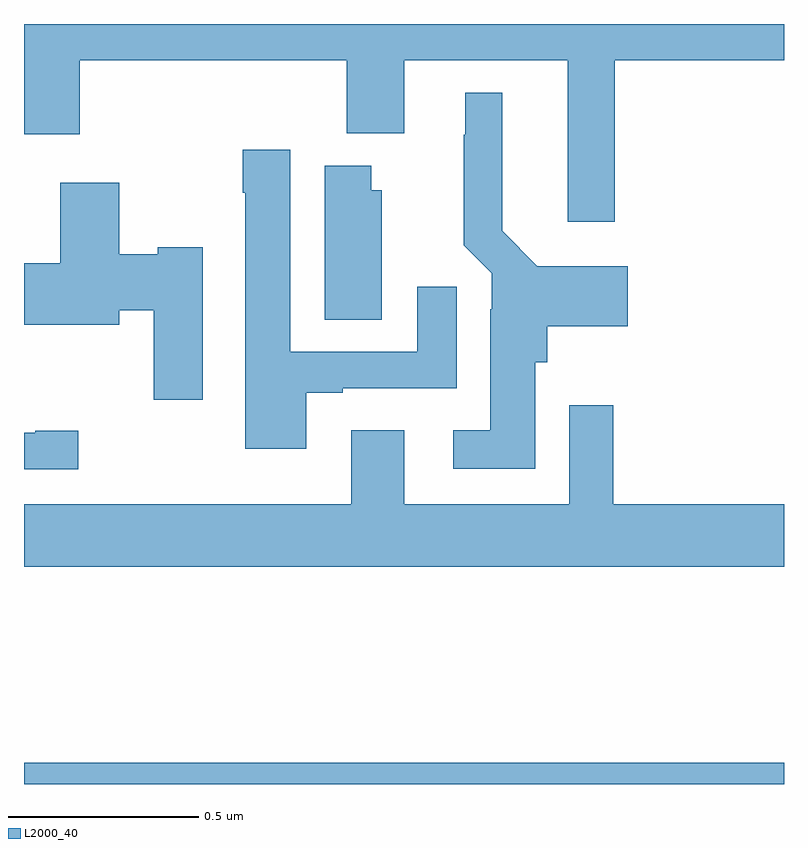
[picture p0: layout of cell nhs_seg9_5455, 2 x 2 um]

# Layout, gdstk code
import gdstk
lib = gdstk.Library(unit=1e-6, precision=1e-09)
def R(c, l, rs):  # rectangles x0, y0, x1, y1
    for r in rs: c.add(gdstk.rectangle(r[:2], r[2:], *l))
def P(c, l, *ps):  # polygons
    for p in ps: c.add(gdstk.Polygon(p, *l))
L2000_40 = (2000, 40)

nhs_seg9_5455 = lib.new_cell('nhs_seg9_5455')
R(nhs_seg9_5455, L2000_40, [(179,1210.5,181,1210.556)])
P(nhs_seg9_5455, L2000_40, [(180.554,1212.404),(181,1212.404),(181,1212.5),(179,1212.5),(179,1212.21),(179.147,1212.21),(179.147,1212.404),(179.849,1212.404),(179.849,1212.212),(180.001,1212.212),(180.001,1212.404),(180.431,1212.404),(180.431,1211.979),(180.554,1211.979)],
  [(180.346,1211.61),(180.377,1211.61),(180.377,1211.705),(180.589,1211.705),(180.589,1211.863),(180.351,1211.863),(180.259,1211.956),(180.259,1212.319),(180.161,1212.319),(180.161,1212.209),(180.157,1212.209),(180.157,1211.918),(180.231,1211.844),(180.231,1211.75),(180.227,1211.75),(180.227,1211.431),(180.129,1211.431),(180.129,1211.33),(180.346,1211.33)],
  [(179.743,1211.529),(179.839,1211.529),(179.839,1211.541),(180.139,1211.541),(180.139,1211.809),(180.035,1211.809),(180.035,1211.637),(179.701,1211.637),(179.701,1212.169),(179.575,1212.169),(179.575,1212.056),(179.582,1212.056),(179.582,1211.382),(179.743,1211.382)],
  [(179.941,1212.063),(179.914,1212.063),(179.914,1212.127),(179.792,1212.127),(179.792,1211.722),(179.941,1211.722)],
  [(179.47,1211.912),(179.352,1211.912),(179.352,1211.894),(179.251,1211.894),(179.251,1212.082),(179.096,1212.082),(179.096,1211.871),(179,1211.871),(179,1211.708),(179.251,1211.708),(179.251,1211.747),(179.341,1211.747),(179.341,1211.511),(179.47,1211.511)],
  [(181,1211.236),(180.551,1211.236),(180.551,1211.497),(180.435,1211.497),(180.435,1211.236),(180.001,1211.236),(180.001,1211.431),(179.861,1211.431),(179.861,1211.236),(179,1211.236),(179,1211.072),(181,1211.072)],
  [(179.143,1211.429),(179.03,1211.429),(179.03,1211.424),(179,1211.424),(179,1211.328),(179.143,1211.328)])

lib.write_gds('nhs_seg9_5455.gds')
